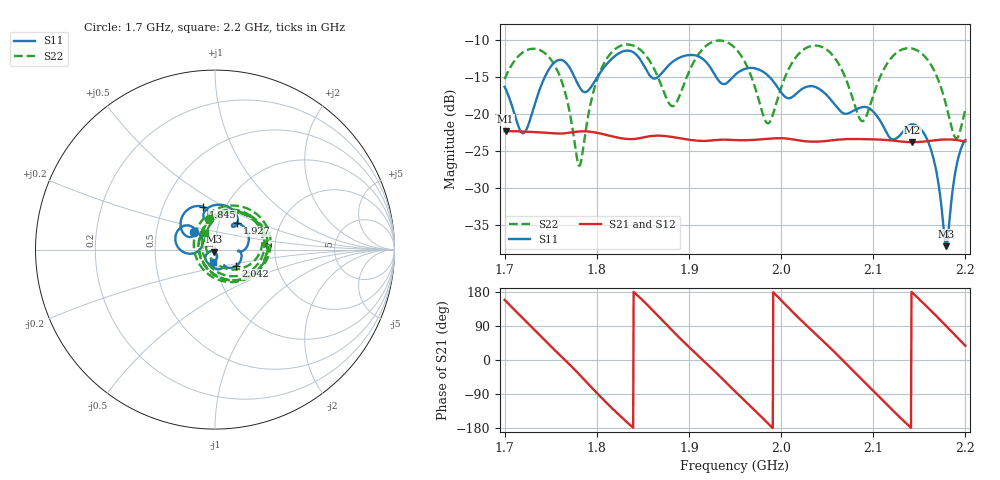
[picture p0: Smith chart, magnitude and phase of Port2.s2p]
# Hz S RI R 50
! CMT, CMT808U, 21440046, 21.4.3/4
! Date: 4/9/2026 1:41:41 AM
! Data: Format (Calibration Info)
! Freq	S11:Re/Im(F2)	S41:Re/Im(F2)	S14:Re/Im(F2)	S44:Re/Im(F2)
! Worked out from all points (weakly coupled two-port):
!   1001 points, 1.7 GHz to 2.2 GHz, reference 50 ohm
!   highest |S21| = -22.26 dB at 1.701 GHz (marker M1); lowest = -23.8 dB at 2.143 GHz (marker M2)
!   lowest |S11| = -37.8 dB at 2.179 GHz (marker M3), VSWR 1.03, Z = 49.4 - j1.14 ohm
!   |S11| at or under -10 dB: start of sweep to end of sweep
!   |S22| runs from -26.9 to -10.0 dB; largest |S21 - S12| = 0.0011
!   S11 on the Smith chart (normalised r, x): 1.7 GHz: 0.77, +0.15; 1.845 GHz: 0.78, +0.40; 1.927 GHz: 1.22, +0.37; 2.042 GHz: 1.24, -0.23; 2.2 GHz: 0.97, -0.13
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1.7e9  -0.1192 0.0968  -0.0717 0.0282  -0.0718 0.0272  -0.0328 0.1698
1.701e9  -0.1138 0.0965  -0.0705 0.0312  -0.0706 0.0302  -0.0253 0.1772
1.721e9  -0.0723 0.0195  -0.0225 0.0733  -0.0233 0.0728  0.1684 0.2053
1.747e9  -0.1964 0.00122  0.0542 0.0517  0.0533 0.0522  0.2475 -0.0216
1.7835e9  -0.1105 0.0954  0.0549 -0.0538  0.0554 -0.0529  -0.0498 0.00609
1.807e9  -0.1802 0.0965  -0.0182 -0.0713  -0.0172 -0.0713  0.0686 0.2052
1.8445e9  -0.0675 0.238  -0.0677 0.012  -0.0676 0.0112  0.2727 -0.0701
1.867e9  -0.0572 0.1711  -0.0303 0.0652  -0.031 0.0647  0.0311 -0.1724
1.8835e9  -0.0482 0.2247  0.0197 0.0674  0.0188 0.0674  -0.113 -0.0168
1.9265e9  0.124 0.1472  0.06 -0.0295  0.0603 -0.0287  0.2574 0.1739
1.95e9  0.1116 0.1471  0.00863 -0.0665  0.00954 -0.0663  0.2647 -0.094
1.986e9  0.1812 0.0229  -0.0668 -0.0147  -0.0665 -0.0156  -0.0858 -0.0151
2.0105e9  0.1294 -0.0057  -0.0453 0.051  -0.046 0.0502  0.0635 0.2059
2.0335e9  0.1406 -0.0658  0.0137 0.064  0.0128 0.0641  0.2769 0.0886
2.0415e9  0.1176 -0.0908  0.0331 0.0566  0.0323 0.057  0.2896 0.000265
2.088e9  0.0351 -0.1064  0.0417 -0.0538  0.0424 -0.0532  -0.0875 -0.0214
2.117e9  -0.0139 -0.0694  -0.0363 -0.0564  -0.0354 -0.0568  0.093 0.2101
2.1425e9  -0.0303 -0.0802  -0.0648 0.00294  -0.0648 0.00203  0.2755 0.0397
2.1635e9  -0.0485 -0.0271  -0.0412 0.0522  -0.0419 0.0516  0.1615 -0.1373
2.179e9  -0.00583 -0.0115  0.000111 0.0678  -0.000824 0.0678  5.4e-06 -0.1164
2.19e9  0.0118 -0.0422  0.0314 0.0594  0.0305 0.0598  -0.0668 -0.0174
2.2e9  -0.0113 -0.0664  0.052 0.0402  0.0514 0.0409  -0.058 0.0914
